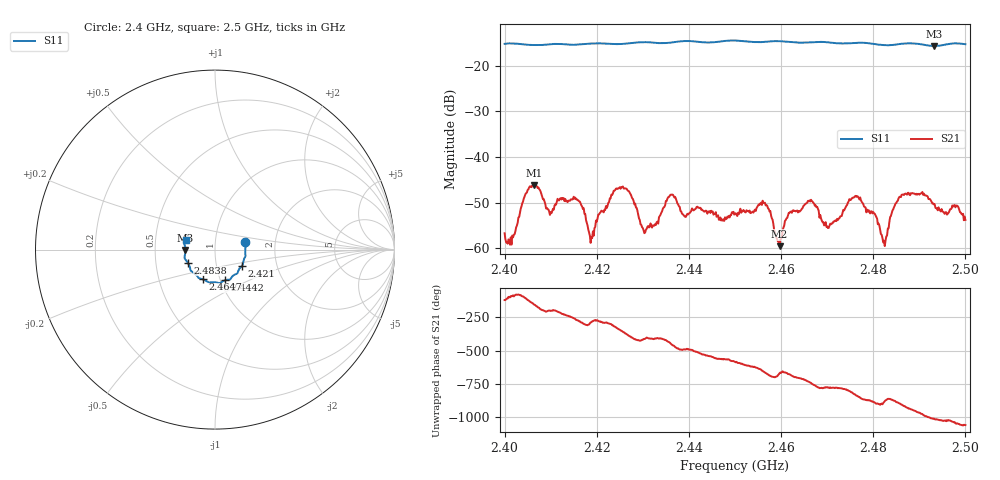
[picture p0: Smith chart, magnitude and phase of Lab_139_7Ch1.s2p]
# Hz S RI R 50
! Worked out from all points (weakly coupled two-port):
!   601 points, 2.4 GHz to 2.5 GHz, reference 50 ohm
!   highest |S21| = -46.17 dB at 2.4063 GHz (marker M1); lowest = -59.5 dB at 2.4597 GHz (marker M2)
!   lowest |S11| = -15.7 dB at 2.4932 GHz (marker M3), VSWR 1.39, Z = 35.8 - j0.114 ohm
!   |S11| at or under -10 dB: start of sweep to end of sweep
!   S12 and S22 are empty: the file has one direction only
!   S11 on the Smith chart (normalised r, x): 2.4 GHz: 1.40, +0.12; 2.421 GHz: 1.33, -0.24; 2.4442 GHz: 1.05, -0.37; 2.4647 GHz: 0.83, -0.28; 2.4838 GHz: 0.73, -0.11; 2.5 GHz: 0.71, +0.08
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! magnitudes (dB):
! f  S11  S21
! 2.4 GHz  -15.2  -56.7
! 2.4063 GHz  -15.4  -46.2
! 2.4098 GHz  -15.3  -52.7
! 2.4167 GHz  -15.3  -50.6
! 2.4188 GHz  -15.1  -57.5
! 2.421 GHz  -15.1  -51.8
! 2.4258 GHz  -15.2  -46.9
! 2.4302 GHz  -14.8  -56.1
! 2.4333 GHz  -15.0  -54.6
! 2.4362 GHz  -14.9  -48.3
! 2.4442 GHz  -14.9  -52.0
! 2.45 GHz  -14.5  -52.4
! 2.4565 GHz  -14.8  -50.0
! 2.4597 GHz  -14.6  -59.5
! 2.4647 GHz  -14.9  -51.2
! 2.4667 GHz  -14.8  -49.6
! 2.4698 GHz  -14.8  -55.3
! 2.4763 GHz  -15.0  -48.7
! 2.4833 GHz  -15.5  -55.6
! 2.4838 GHz  -15.5  -52.9
! 2.4932 GHz  -15.7  -50.4
! 2.5 GHz  -15.3  -53.8
